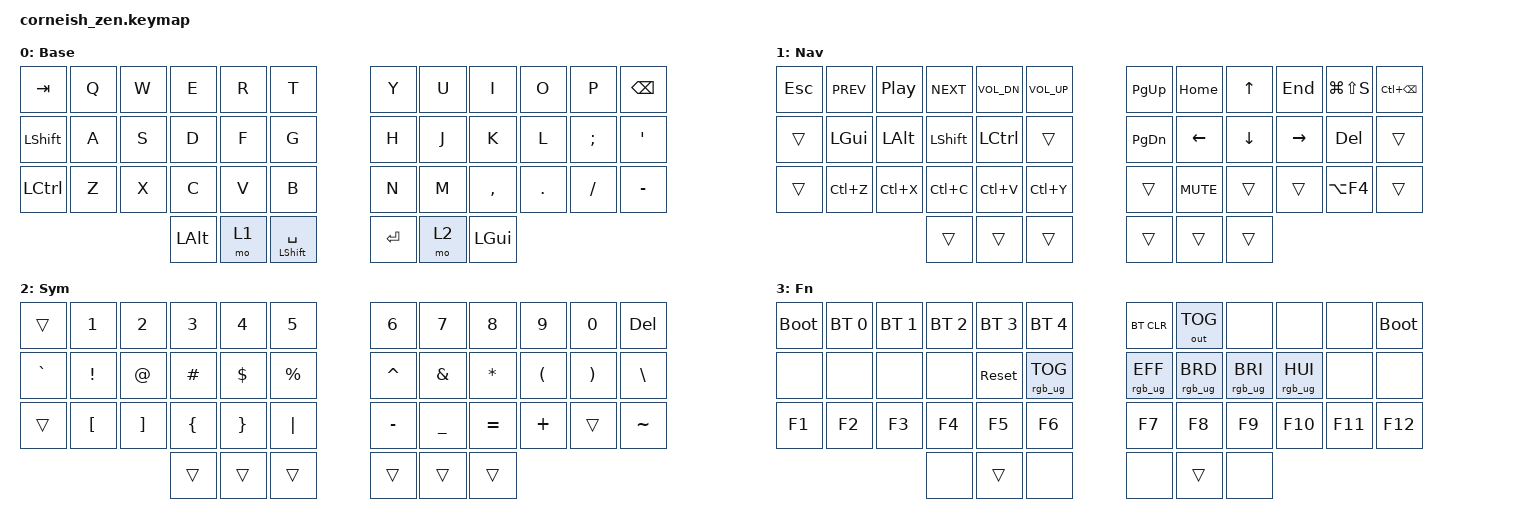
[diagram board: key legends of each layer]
/*
 * Chris's Corne-ish Zen clone (AliExpress, e-paper displays + RGB underglow), ZMK v0.3.
 * Same layout as his Typeractive Corne (branch `corne`), plus an underglow on/off key.
 *
 * Key position numbers (used by combos):
 *    0  1  2  3  4  5          6  7  8  9 10 11
 *   12 13 14 15 16 17         18 19 20 21 22 23
 *   24 25 26 27 28 29         30 31 32 33 34 35
 *            36 37 38         39 40 41
 *
 * Thumbs: left  36 = outer, 37 = middle, 38 = inner (big 1.5u)
 *         right 39 = inner (big 1.5u), 40 = middle, 41 = outer
 *
 * Layers:
 *   0 Base
 *   1 Nav   hold left middle thumb   (left hand holds modifiers, right hand moves)
 *   2 Sym   hold right middle thumb  (numbers + symbols)
 *   3 Fn    hold BOTH middle thumbs  (Bluetooth, restart, bootloader, F-keys) - same spots as the Lily58
 *   4-5     spare layers for ZMK Studio
 */

#include <behaviors.dtsi>
#include <dt-bindings/zmk/keys.h>
#include <dt-bindings/zmk/bt.h>
#include <dt-bindings/zmk/outputs.h>
#include <dt-bindings/zmk/rgb.h>


/ {
    behaviors {
        // Tap = Space, hold = Shift. "balanced": Shift only if another key is
        // pressed AND released while Space is still down, so fast rolls stay spaces.
        space_shift: space_shift {
            compatible = "zmk,behavior-hold-tap";
            display-name = "Space / Shift";
            #binding-cells = <2>;
            bindings = <&kp>, <&kp>;
            tapping-term-ms = <200>;
            flavor = "balanced";
        };
    };

    conditional_layers {
        compatible = "zmk,conditional-layers";

        // Holding Nav (1) and Sym (2) together turns on Fn (3).
        tri_layer {
            if-layers = <1 2>;
            then-layer = <3>;
        };
    };

    combos {
        compatible = "zmk,combos";

        combo_dictation {
            timeout-ms = <50>;
            key-positions = <38 39>;            // both big inner thumbs -> Ctrl+Win+Space (Wispr Flow)
            bindings = <&kp LC(LG(SPACE))>;
        };
    };

    keymap {
        compatible = "zmk,keymap";

        base_layer {
            display-name = "Base";
// | TAB  |  Q  |  W  |  E  |  R  |  T  |   |  Y  |  U  |  I  |  O  |  P  | BKSP |
// | SHFT |  A  |  S  |  D  |  F  |  G  |   |  H  |  J  |  K  |  L  |  ;  |  '   |
// | CTRL |  Z  |  X  |  C  |  V  |  B  |   |  N  |  M  |  ,  |  .  |  /  |  -   |
//                    | ALT | NAV |SPC/SHFT| |ENTER| SYM | WIN |
            bindings = <
&kp TAB   &kp Q &kp W &kp E &kp R &kp T                         &kp Y   &kp U  &kp I     &kp O   &kp P    &kp BSPC
&kp LSHFT &kp A &kp S &kp D &kp F &kp G                         &kp H   &kp J  &kp K     &kp L   &kp SEMI &kp SQT
&kp LCTRL &kp Z &kp X &kp C &kp V &kp B                         &kp N   &kp M  &kp COMMA &kp DOT &kp FSLH &kp MINUS
                  &kp LALT &mo 1 &space_shift LSHFT SPACE       &kp RET &mo 2  &kp LGUI
            >;
        };

        nav_layer {
            display-name = "Nav";
// | ESC  |PREV |PLAY |NEXT |VOL- |VOL+ |   |PGUP |HOME | UP  | END |SNIP |DELWORD|
// |      | WIN | ALT |SHFT |CTRL |     |   |PGDN |LEFT |DOWN |RIGHT| DEL |      |
// |      |UNDO | CUT |COPY |PASTE|REDO |   |     |MUTE |     |     |CLOSE|      |
//                    | ALT |(held)|    |   |     | FN  |     |
            bindings = <
&kp ESC &kp C_PREV &kp C_PP  &kp C_NEXT &kp C_VOL_DN &kp C_VOL_UP     &kp PG_UP &kp HOME   &kp UP   &kp END   &kp LG(LS(S)) &kp LC(BSPC)
&trans &kp LGUI   &kp LALT  &kp LSHFT  &kp LCTRL    &trans            &kp PG_DN &kp LEFT   &kp DOWN &kp RIGHT &kp DEL       &trans
&trans &kp LC(Z)  &kp LC(X) &kp LC(C)  &kp LC(V)    &kp LC(Y)         &trans    &kp C_MUTE &trans   &trans    &kp LA(F4)    &trans
                            &trans     &trans       &trans            &trans    &trans     &trans
            >;
        };

        sym_layer {
            display-name = "Sym";
// |      |  1  |  2  |  3  |  4  |  5  |   |  6  |  7  |  8  |  9  |  0  | DEL  |
// |  `   |  !  |  @  |  #  |  $  |  %  |   |  ^  |  &  |  *  |  (  |  )  |  \   |
// |      |  [  |  ]  |  {  |  }  |  |  |   |  -  |  _  |  =  |  +  |     |  ~   |
//                    | ALT | FN  |     |   |     |(held)|     |
            bindings = <
&trans    &kp N1   &kp N2   &kp N3   &kp N4   &kp N5             &kp N6    &kp N7    &kp N8    &kp N9   &kp N0   &kp DEL
&kp GRAVE &kp EXCL &kp AT   &kp HASH &kp DLLR &kp PRCNT          &kp CARET &kp AMPS  &kp ASTRK &kp LPAR &kp RPAR &kp BSLH
&trans    &kp LBKT &kp RBKT &kp LBRC &kp RBRC &kp PIPE           &kp MINUS &kp UNDER &kp EQUAL &kp PLUS &trans   &kp TILDE
                            &trans   &trans   &trans             &trans    &trans    &trans
            >;
        };

        fn_layer {
            display-name = "Fn";
// | BOOT | BT1 | BT2 | BT3 | BT4 | BT5 |   |BTCLR|USB/BT|    |     |     | BOOT |
// |      |     |     |     |RESTART|LIGHT|  |EFFECT|DIMMER|BRIGHTER|COLOR|  |      |
// |  F1  | F2  | F3  | F4  | F5  | F6  |   | F7  | F8  | F9  | F10 | F11 | F12  |
//                    |     |(held)|    |   |     |(held)|     |
            bindings = <
&bootloader &bt BT_SEL 0 &bt BT_SEL 1 &bt BT_SEL 2 &bt BT_SEL 3 &bt BT_SEL 4       &bt BT_CLR &out OUT_TOG &none  &none   &none   &bootloader
&none       &none        &none        &none        &sys_reset   &rgb_ug RGB_TOG    &rgb_ug RGB_EFF &rgb_ug RGB_BRD &rgb_ug RGB_BRI &rgb_ug RGB_HUI &none &none
&kp F1      &kp F2       &kp F3       &kp F4       &kp F5       &kp F6             &kp F7     &kp F8       &kp F9 &kp F10 &kp F11 &kp F12
                                      &none        &trans       &none              &none      &trans       &none
            >;
        };

        // Spare layers you can turn on and fill in from ZMK Studio.
        extra1 {
            display-name = "Extra 1";
            status = "reserved";
        };

        extra2 {
            display-name = "Extra 2";
            status = "reserved";
        };
    };
};
